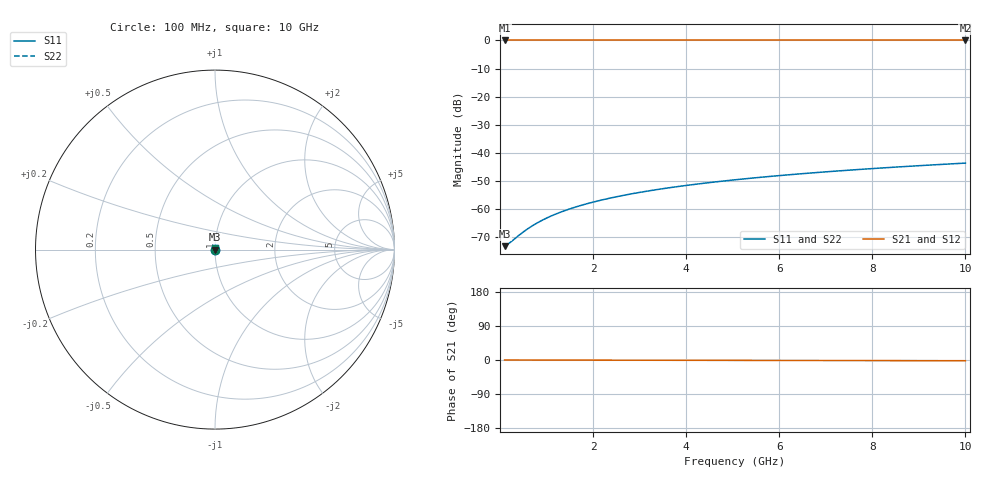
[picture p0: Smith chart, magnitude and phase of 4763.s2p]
# Hz S RI R 50.00
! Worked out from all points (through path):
!   100 points, 100 MHz to 10 GHz, reference 50 ohm
!   highest |S21| = 0.00 dB at 100 MHz (marker M1); lowest = 0.0 dB at 10 GHz (marker M2)
!   lowest |S11| = -73.3 dB at 100 MHz (marker M3), VSWR 1.00, Z = 50 + j0.00653 ohm
!   |S11| at or under -10 dB: start of sweep to end of sweep
!   |S22| runs from -73.3 to -43.7 dB; largest |S21 - S12| = 0
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1e8  0.000208 6.52e-05  0.9998 -0.000333  0.9998 -0.000333  0.000208 6.52e-05
2e8  0.000209 0.00013  0.9998 -0.000666  0.9998 -0.000666  0.000209 0.00013
4e8  0.000211 0.000261  0.9998 -0.00133  0.9998 -0.00133  0.000211 0.000261
5e8  0.000211 0.000326  0.9998 -0.00166  0.9998 -0.00166  0.000211 0.000326
6e8  0.000212 0.000391  0.9998 -0.002  0.9998 -0.002  0.000212 0.000391
7e8  0.000213 0.000457  0.9998 -0.00233  0.9998 -0.00233  0.000213 0.000457
9e8  0.000214 0.000587  0.9998 -0.003  0.9998 -0.003  0.000214 0.000587
1.1e9  0.000216 0.000717  0.9998 -0.00366  0.9998 -0.00366  0.000216 0.000717
1.3e9  0.000218 0.000848  0.9998 -0.00433  0.9998 -0.00433  0.000218 0.000848
1.5e9  0.000219 0.000978  0.9998 -0.005  0.9998 -0.005  0.000219 0.000978
1.8e9  0.000222 0.00117  0.9998 -0.00599  0.9998 -0.00599  0.000222 0.00117
2.1e9  0.000225 0.00137  0.9998 -0.00699  0.9998 -0.00699  0.000225 0.00137
2.5e9  0.00023 0.00163  0.9997 -0.00833  0.9997 -0.00833  0.00023 0.00163
2.9e9  0.000235 0.00189  0.9997 -0.00966  0.9997 -0.00966  0.000235 0.00189
3.4e9  0.000243 0.00222  0.9997 -0.0113  0.9997 -0.0113  0.000243 0.00222
4.2e9  0.000257 0.00274  0.9997 -0.014  0.9997 -0.014  0.000257 0.00274
5.1e9  0.000276 0.00332  0.9996 -0.017  0.9996 -0.017  0.000276 0.00332
5.9e9  0.000296 0.00385  0.9996 -0.0197  0.9996 -0.0197  0.000296 0.00385
6.7e9  0.000319 0.00437  0.9995 -0.0224  0.9995 -0.0224  0.000319 0.00437
7.5e9  0.000345 0.00489  0.9994 -0.0251  0.9994 -0.0251  0.000345 0.00489
8.4e9  0.000377 0.00548  0.9993 -0.0281  0.9993 -0.0281  0.000377 0.00548
1e10  0.000444 0.00653  0.9992 -0.0335  0.9992 -0.0335  0.000444 0.00653
